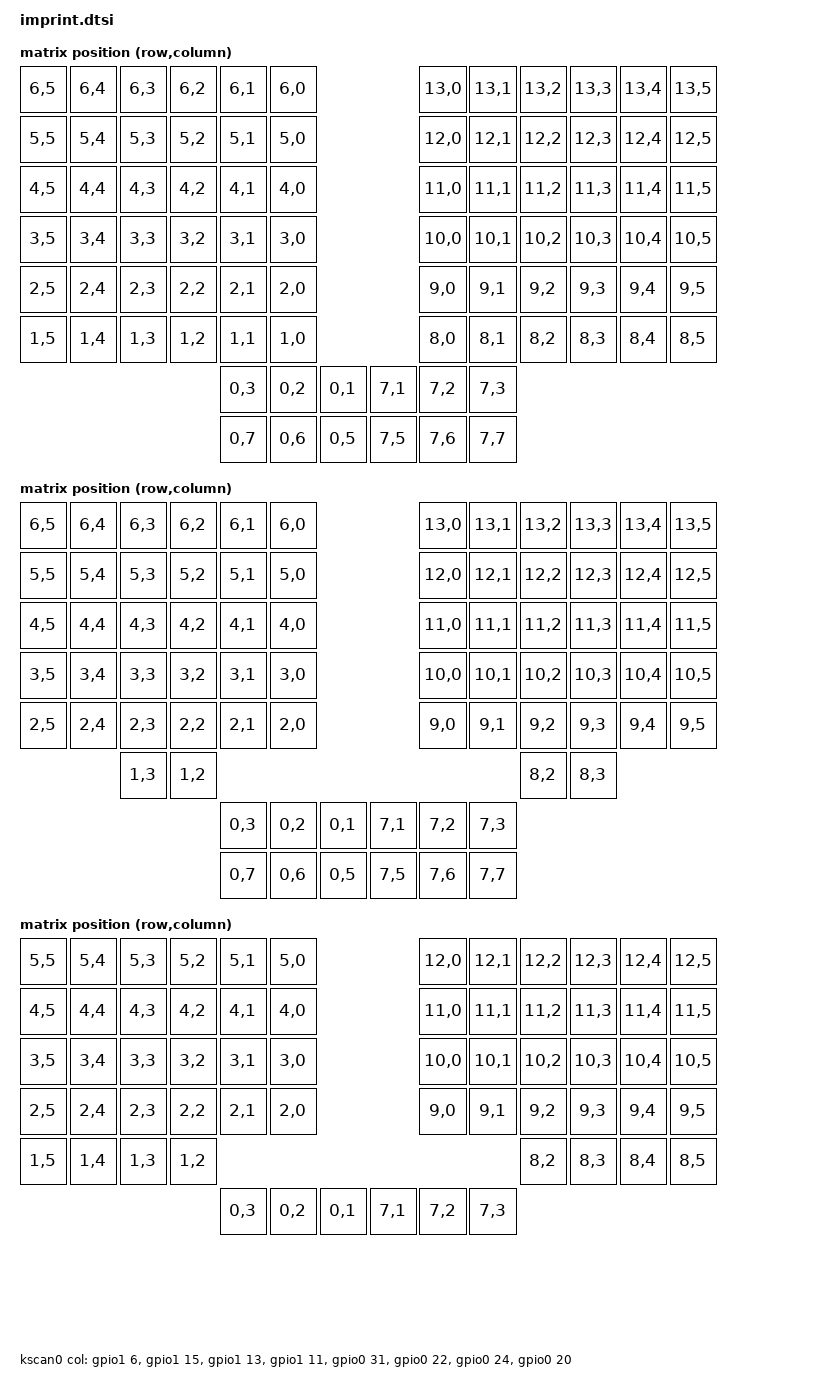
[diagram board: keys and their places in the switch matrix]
#include <dt-bindings/zmk/matrix_transform.h>

/ {
    chosen {
        zmk,kscan = &kscan0;
        zmk,matrix_transform = &imprint_function_row;
    };

    default_transform: keymap_transform_0 {//contains all possible key postions on the first 6 columns and 6 thumb keys of the imprint flex-pcb system
        compatible = "zmk,matrix-transform";
        columns = <8>;
        rows = <14>;
        map = <
RC(6,5) RC(6,4) RC(6,3) RC(6,2) RC(6,1) RC(6,0)                           RC(13,0) RC(13,1) RC(13,2) RC(13,3) RC(13,4) RC(13,5)
RC(5,5) RC(5,4) RC(5,3) RC(5,2) RC(5,1) RC(5,0)                           RC(12,0) RC(12,1) RC(12,2) RC(12,3) RC(12,4) RC(12,5)
RC(4,5) RC(4,4) RC(4,3) RC(4,2) RC(4,1) RC(4,0)                           RC(11,0) RC(11,1) RC(11,2) RC(11,3) RC(11,4) RC(11,5)
RC(3,5) RC(3,4) RC(3,3) RC(3,2) RC(3,1) RC(3,0)                           RC(10,0) RC(10,1) RC(10,2) RC(10,3) RC(10,4) RC(10,5)
RC(2,5) RC(2,4) RC(2,3) RC(2,2) RC(2,1) RC(2,0)                           RC(9,0)  RC(9,1)  RC(9,2)  RC(9,3)  RC(9,4)  RC(9,5)
RC(1,5) RC(1,4) RC(1,3) RC(1,2) RC(1,1) RC(1,0)                           RC(8,0)  RC(8,1)  RC(8,2)  RC(8,3)  RC(8,4)  RC(8,5)
                                    RC(0,3) RC(0,2) RC(0,1)   RC(7,1) RC(7,2) RC(7,3)
                                    RC(0,7) RC(0,6) RC(0,5)   RC(7,5) RC(7,6) RC(7,7)
        >;
    };

    imprint_function_row: keymap_transform_1 {
        compatible = "zmk,matrix-transform";
        columns = <8>;
        rows = <14>;
        map = <
RC(6,5) RC(6,4) RC(6,3) RC(6,2) RC(6,1) RC(6,0)                           RC(13,0) RC(13,1) RC(13,2) RC(13,3) RC(13,4) RC(13,5)
RC(5,5) RC(5,4) RC(5,3) RC(5,2) RC(5,1) RC(5,0)                           RC(12,0) RC(12,1) RC(12,2) RC(12,3) RC(12,4) RC(12,5)
RC(4,5) RC(4,4) RC(4,3) RC(4,2) RC(4,1) RC(4,0)                           RC(11,0) RC(11,1) RC(11,2) RC(11,3) RC(11,4) RC(11,5)
RC(3,5) RC(3,4) RC(3,3) RC(3,2) RC(3,1) RC(3,0)                           RC(10,0) RC(10,1) RC(10,2) RC(10,3) RC(10,4) RC(10,5)
RC(2,5) RC(2,4) RC(2,3) RC(2,2) RC(2,1) RC(2,0)                           RC(9,0)  RC(9,1)  RC(9,2)  RC(9,3)  RC(9,4)  RC(9,5)
                RC(1,3) RC(1,2)                                                             RC(8,2)  RC(8,3)
                                    RC(0,3) RC(0,2) RC(0,1)   RC(7,1) RC(7,2) RC(7,3)
                                    RC(0,7) RC(0,6) RC(0,5)   RC(7,5) RC(7,6) RC(7,7)
        >;
    };

    dactyl_single_arc_number_row: keymap_transform_2 {
        compatible = "zmk,matrix-transform";
        columns = <8>;
        rows = <14>;
        map = <
RC(5,5) RC(5,4) RC(5,3) RC(5,2) RC(5,1) RC(5,0)                           RC(12,0) RC(12,1) RC(12,2) RC(12,3) RC(12,4) RC(12,5)
RC(4,5) RC(4,4) RC(4,3) RC(4,2) RC(4,1) RC(4,0)                           RC(11,0) RC(11,1) RC(11,2) RC(11,3) RC(11,4) RC(11,5)
RC(3,5) RC(3,4) RC(3,3) RC(3,2) RC(3,1) RC(3,0)                           RC(10,0) RC(10,1) RC(10,2) RC(10,3) RC(10,4) RC(10,5)
RC(2,5) RC(2,4) RC(2,3) RC(2,2) RC(2,1) RC(2,0)                           RC(9,0)  RC(9,1)  RC(9,2)  RC(9,3)  RC(9,4)  RC(9,5)
RC(1,5) RC(1,4) RC(1,3) RC(1,2)                                                             RC(8,2)  RC(8,3)  RC(8,4)  RC(8,5)
                                    RC(0,3) RC(0,2) RC(0,1)   RC(7,1) RC(7,2) RC(7,3)
        >;
    };

    dactyl_single_arc_letters_only: keymap_transform_3 {
        compatible = "zmk,matrix-transform";
        columns = <8>;
        rows = <14>;
        map = <
RC(4,5) RC(4,4) RC(4,3) RC(4,2) RC(4,1) RC(4,0)                           RC(11,0) RC(11,1) RC(11,2) RC(11,3) RC(11,4) RC(11,5)
RC(3,5) RC(3,4) RC(3,3) RC(3,2) RC(3,1) RC(3,0)                           RC(10,0) RC(10,1) RC(10,2) RC(10,3) RC(10,4) RC(10,5)
RC(2,5) RC(2,4) RC(2,3) RC(2,2) RC(2,1) RC(2,0)                           RC(9,0)  RC(9,1)  RC(9,2)  RC(9,3)  RC(9,4)  RC(9,5)
RC(1,5) RC(1,4) RC(1,3) RC(1,2)                                                             RC(8,2)  RC(8,3)  RC(8,4)  RC(8,5)
                                    RC(0,3) RC(0,2) RC(0,1)   RC(7,1) RC(7,2) RC(7,3)
        >;
    };

    dactyl_manuform_number_row: keymap_transform_4 {
        compatible = "zmk,matrix-transform";
        columns = <8>;
        rows = <14>;
        map = <
RC(5,5) RC(5,4) RC(5,3) RC(5,2) RC(5,1) RC(5,0)                           RC(12,0) RC(12,1) RC(12,2) RC(12,3) RC(12,4) RC(12,5)
RC(4,5) RC(4,4) RC(4,3) RC(4,2) RC(4,1) RC(4,0)                           RC(11,0) RC(11,1) RC(11,2) RC(11,3) RC(11,4) RC(11,5)
RC(3,5) RC(3,4) RC(3,3) RC(3,2) RC(3,1) RC(3,0)                           RC(10,0) RC(10,1) RC(10,2) RC(10,3) RC(10,4) RC(10,5)
RC(2,5) RC(2,4) RC(2,3) RC(2,2) RC(2,1) RC(2,0)                           RC(9,0)  RC(9,1)  RC(9,2)  RC(9,3)  RC(9,4)  RC(9,5)
RC(1,5) RC(1,4) RC(1,3) RC(1,2)                                                             RC(8,2)  RC(8,3)  RC(8,4)  RC(8,5)
                                    RC(0,3) RC(0,2) RC(0,1)   RC(7,1) RC(7,2) RC(7,3)
                                    RC(0,7) RC(0,6) RC(0,5)   RC(7,5) RC(7,6) RC(7,7)
        >;
    };

    legacy_single_arc_imprint: keymap_transform_5 {
        compatible = "zmk,matrix-transform";
        columns = <7>;
        rows = <14>;
        map = <
RC(6,6) RC(6,5) RC(6,4) RC(6,3) RC(6,2) RC(6,1)                 RC(13,1) RC(13,2) RC(13,3) RC(13,4) RC(13,5) RC(13,6)
RC(5,6) RC(5,5) RC(5,4) RC(5,3) RC(5,2) RC(5,1)                 RC(12,1) RC(12,2) RC(12,3) RC(12,4) RC(12,5) RC(12,6)
RC(4,6) RC(4,5) RC(4,4) RC(4,3) RC(4,2) RC(4,1)                 RC(11,1) RC(11,2) RC(11,3) RC(11,4) RC(11,5) RC(11,6)
RC(3,6) RC(3,5) RC(3,4) RC(3,3) RC(3,2) RC(3,1)                 RC(10,1) RC(10,2) RC(10,3) RC(10,4) RC(10,5) RC(10,6)
RC(2,6) RC(2,5) RC(2,4) RC(2,3) RC(2,2) RC(2,1)                 RC(9,1)  RC(9,2)  RC(9,3)  RC(9,4)  RC(9,5) RC(9,6)
                RC(1,4) RC(1,3) RC(1,2) RC(1,1) RC(1,0) RC(8,0) RC(8,1)  RC(7,2)  RC(8,3)  RC(8,4)
        >;
    };

    kscan0: kscan {
        compatible = "zmk,kscan-gpio-matrix";
        label = "KSCAN";

        wakeup-source;

        diode-direction = "row2col";
        col-gpios
            = <&gpio1 6 (GPIO_ACTIVE_HIGH | GPIO_PULL_DOWN)> // col0 from schematic
            , <&gpio1 15 (GPIO_ACTIVE_HIGH | GPIO_PULL_DOWN)> // col1 from schematic
            , <&gpio1 13 (GPIO_ACTIVE_HIGH | GPIO_PULL_DOWN)> // col2 from schematic
            , <&gpio1 11 (GPIO_ACTIVE_HIGH | GPIO_PULL_DOWN)> // col3 from schematic
            , <&gpio0 31 (GPIO_ACTIVE_HIGH | GPIO_PULL_DOWN)> // col4 from schematic
            , <&gpio0 22 (GPIO_ACTIVE_HIGH | GPIO_PULL_DOWN)> // col5 from schematic
            , <&gpio0 24 (GPIO_ACTIVE_HIGH | GPIO_PULL_DOWN)> // col6 from schematic
            , <&gpio0 20 (GPIO_ACTIVE_HIGH | GPIO_PULL_DOWN)> // col7 from schematic
            ;

    };

    trackball_central_listener: trackball_central_listener {
        compatible = "zmk,input-listener";
        status = "disabled";
    };

    split_inputs {
        #address-cells = <1>;
        #size-cells = <0>;

        trackball_peripheral_split: trackball_peripheral_split@0 {
            compatible = "zmk,input-split";
            reg = <0>;
        };
    };

    trackball_peripheral_listener: trackball_peripheral_listener {
        compatible = "zmk,input-listener";
        status = "disabled";
        device = <&trackball_peripheral_split>;
    };
};
